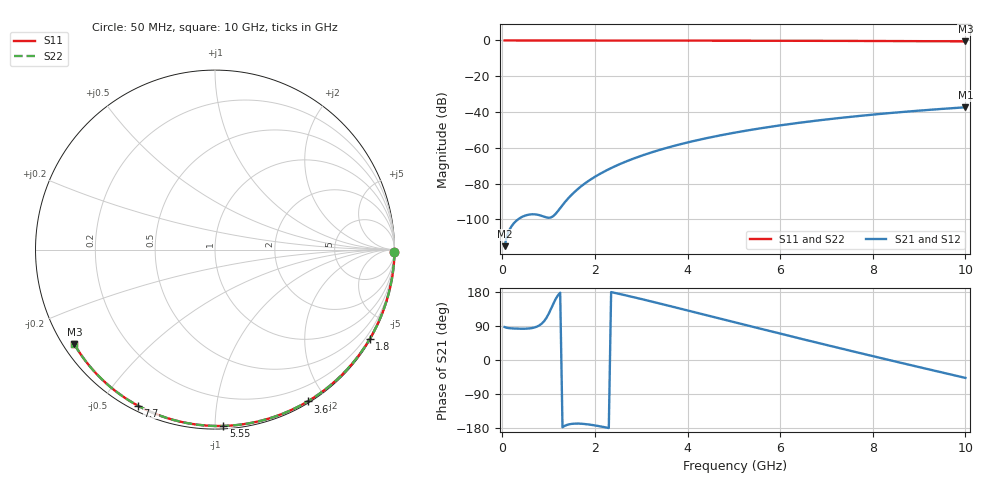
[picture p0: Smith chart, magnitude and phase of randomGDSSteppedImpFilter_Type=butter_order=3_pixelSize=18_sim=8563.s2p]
! freq	dB(S11)	phase(S11)	dB(S12)	phase(S12)
!  dB(S21)	phase(S21)	dB(S22)	phase(S22)
!S-par simulation data
#  GHz  S  DB  R 50
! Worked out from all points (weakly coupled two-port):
!   200 points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, 50 MHz to 10 GHz, reference 50 ohm
!   highest |S21| = -37.33 dB at 10 GHz (marker M1); lowest = -114.9 dB at 50 MHz (marker M2)
!   lowest |S11| = -0.5 dB at 10 GHz (marker M3), VSWR 35.22, Z = 1.55 - j15.3 ohm
!   |S11| at or under -10 dB: nowhere
!   |S22| runs from -0.5 to 0.0 dB; largest |S21 - S12| = 0
!   S11 on the Smith chart (normalised r, x): 50 MHz: open; 1.8 GHz: 0.03, -3.72; 3.6 GHz: 0.02, -1.78; 5.55 GHz: 0.02, -1.05; 7.7 GHz: 0.02, -0.62; 10 GHz: 0.03, -0.31
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0.05  -0.00 -0.9  -114.91 86.9  -114.91 86.9  -0.00 -0.9
0.45  -0.01 -7.6  -98.27 82.5  -98.27 82.5  -0.01 -7.6
0.9  -0.02 -15.2  -98.40 102.0  -98.40 102.0  -0.02 -15.2
1.3  -0.03 -21.8  -91.97 -177.3  -91.97 -177.3  -0.03 -21.8
1.75  -0.04 -29.3  -80.52 -168.6  -80.52 -168.6  -0.04 -29.3
1.8  -0.04 -30.1  -79.56 -169.2  -79.56 -169.2  -0.04 -30.1
1.95  -0.04 -32.5  -76.95 -171.7  -76.95 -171.7  -0.04 -32.5
2.1  -0.04 -35.0  -74.65 -174.8  -74.65 -174.8  -0.04 -35.0
2.3  -0.05 -38.2  -71.91 -179.6  -71.91 -179.6  -0.05 -38.2
2.5  -0.05 -41.4  -69.50 175.2  -69.50 175.2  -0.05 -41.4
2.9  -0.06 -47.8  -65.36 163.9  -65.36 163.9  -0.06 -47.7
3.4  -0.07 -55.6  -61.12 149.0  -61.12 149.0  -0.07 -55.6
3.6  -0.08 -58.6  -59.64 143.0  -59.64 143.0  -0.08 -58.6
4.3  -0.10 -69.2  -55.19 121.6  -55.19 121.6  -0.10 -69.2
5.05  -0.12 -80.2  -51.35 98.6  -51.35 98.6  -0.12 -80.2
5.55  -0.14 -87.3  -49.18 83.3  -49.18 83.3  -0.14 -87.3
6.1  -0.17 -95.0  -47.07 66.7  -47.07 66.7  -0.17 -95.0
6.7  -0.20 -103.1  -45.04 48.6  -45.04 48.6  -0.20 -103.1
7.7  -0.27 -116.4  -42.18 19.0  -42.18 19.0  -0.27 -116.4
8.35  -0.32 -124.8  -40.60 0.0  -40.60 0.0  -0.32 -124.8
9.2  -0.40 -135.7  -38.79 -24.5  -38.79 -24.5  -0.40 -135.7
10  -0.49 -146.0  -37.33 -47.3  -37.33 -47.3  -0.49 -146.0
